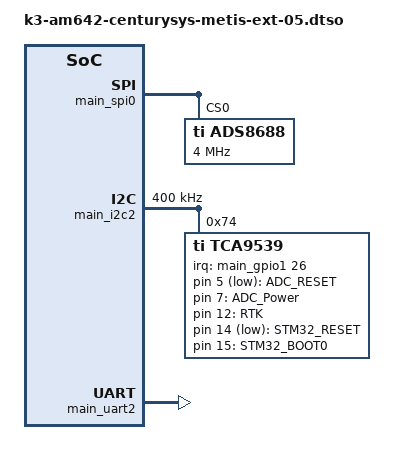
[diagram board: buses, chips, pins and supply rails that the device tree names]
// SPDX-License-Identifier: GPL-2.0
/**
 * DT overlay for expansion board on Century Systems MA-X300/S2C
 * - SPI
 *   - ADS8688
 * - I2C
 *   - TCA9539
 *   - STM32 I2C-slave (not yet)
 * - UART
 *   - STM32 USART
 *
 * Copyright (C) 2022 Century Systems
 */

/dts-v1/;
/plugin/;
#include <dt-bindings/gpio/gpio.h>
#include <dt-bindings/interrupt-controller/irq.h>
#include "k3-pinctrl.h"

&main_pmx0 {
	main_spi0_pins_default: main-spi0-pins-default {
		pinctrl-single,pins = <
			AM64X_IOPAD(0x0210, PIN_INPUT, 0) /* (D13) SPI0_CLK */
			AM64X_IOPAD(0x0208, PIN_OUTPUT, 0) /* (D12) SPI0_CS0 */
			AM64X_IOPAD(0x020c, PIN_OUTPUT, 0) /* (C13) SPI0_CS1 */
			AM64X_IOPAD(0x0214, PIN_OUTPUT, 0) /* (A13) SPI0_D0 */
			AM64X_IOPAD(0x0218, PIN_INPUT, 0) /* (A14) SPI0_D1 */
		>;
	};

	main_i2c2_tca9539_pins_default: main-i2c2-tca9539-pins-default {
		pinctrl-single,pins = <
			AM64X_IOPAD(0x01c8, PIN_INPUT, 7) /* (R5) PRG0_PRU1_GPO6.GPIO1_26 */
		>;
	};
};

&main_spi0 {
	#address-cells = <1>;
	#size-cells = <0>;
	pinctrl-names = "default";
	pinctrl-0 = <&main_spi0_pins_default>;
	ti,pindir-d0-out-d1-in = <1>;
	status = "okay";

	ads8688@0 {
		compatible = "ti,ads8688";
		reg = <0>;
		spi-max-frequency = <4000000>;
		spi-cs-low;
		data-size = <16>;
	};
};

&main_i2c2 {
	#address-cells = <1>;
	#size-cells = <0>;
	pinctrl-names = "default";
	pinctrl-0 = <&main_i2c2_pins_default>;
	clock-frequency = <400000>;
	status = "okay";

	tca9539: tca9539@74 {
		compatible = "ti,tca9539";
		reg = <0x74>;
		#address-cells = <1>;
		#size-cells = <0>;
		gpio-controller;
		#gpio-cells = <2>;
		pinctrl-names = "default";
		pinctrl-0 = <&main_i2c2_tca9539_pins_default>;
		interrupt-parent = <&main_gpio1>;
		interrupts = <26 IRQ_TYPE_EDGE_FALLING>;
		interrupt-controller;
		#interrupt-cells = <2>;

		gpio-line-names = "",
				  "",
				  "",
				  "",
				  "",
				  "ADC_RESETn",
				  "ADC_PowerFault",
				  "ADC_PowerCtrl",
				  "",
				  "",
				  "",
				  "",
				  "LED_RTK",
				  "F9P_RTK_STATUS",
				  "STM32_RESET_N",
				  "STM32_BOOT0";
	};

};

&main_uart2 {
	pinctrl-names = "default";
	pinctrl-0 = <&main_uart2_pins_default>;
	status = "okay";
};

&{/} {
	leds_ext: leds_ext {
		compatible = "gpio-leds";
		status = "okay";

		adc_reset_n {
			label = "ADC_RESET";
			gpios = <&tca9539 5 GPIO_ACTIVE_LOW>;
			default-trigger = "oneshot";
		};

		adc_power {
			label = "ADC_Power";
			gpios = <&tca9539 7 GPIO_ACTIVE_HIGH>;
		};

		rtk {
			label = "RTK";
			gpios = <&tca9539 12 GPIO_ACTIVE_HIGH>;
		};

		stm32_reset_n {
			label = "STM32_RESET";
			gpios = <&tca9539 14 GPIO_ACTIVE_LOW>;
		};

		stm32_boot0 {
			label = "STM32_BOOT0";
			gpios = <&tca9539 15 GPIO_ACTIVE_HIGH>;
		};
	};
};
